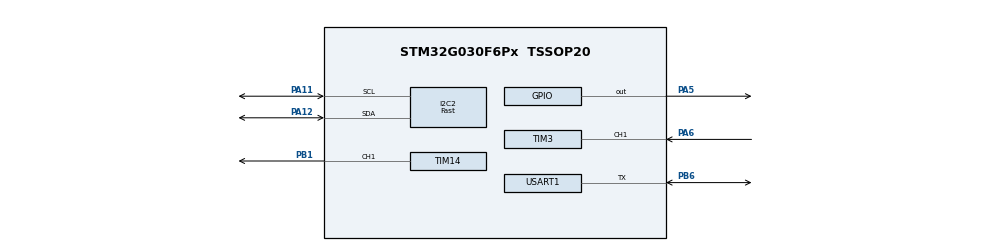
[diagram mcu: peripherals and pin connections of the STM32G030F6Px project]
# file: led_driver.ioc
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Dma.I2C2_TX.0.Direction=DMA_MEMORY_TO_PERIPH
Dma.I2C2_TX.0.EventEnable=DISABLE
Dma.I2C2_TX.0.Instance=DMA1_Channel1
Dma.I2C2_TX.0.MemDataAlignment=DMA_MDATAALIGN_BYTE
Dma.I2C2_TX.0.MemInc=DMA_MINC_ENABLE
Dma.I2C2_TX.0.Mode=DMA_NORMAL
Dma.I2C2_TX.0.PeriphDataAlignment=DMA_PDATAALIGN_BYTE
Dma.I2C2_TX.0.PeriphInc=DMA_PINC_DISABLE
Dma.I2C2_TX.0.Polarity=HAL_DMAMUX_REQ_GEN_RISING
Dma.I2C2_TX.0.Priority=DMA_PRIORITY_MEDIUM
Dma.I2C2_TX.0.RequestNumber=1
Dma.I2C2_TX.0.SignalID=NONE
Dma.I2C2_TX.0.SyncEnable=DISABLE
Dma.I2C2_TX.0.SyncPolarity=HAL_DMAMUX_SYNC_NO_EVENT
Dma.I2C2_TX.0.SyncRequestNumber=1
Dma.I2C2_TX.0.SyncSignalID=NONE
Dma.MEMTOMEM.1.Direction=DMA_MEMORY_TO_MEMORY
Dma.MEMTOMEM.1.EventEnable=DISABLE
Dma.MEMTOMEM.1.Instance=DMA1_Channel2
Dma.MEMTOMEM.1.MemDataAlignment=DMA_MDATAALIGN_BYTE
Dma.MEMTOMEM.1.MemInc=DMA_MINC_ENABLE
Dma.MEMTOMEM.1.Mode=DMA_NORMAL
Dma.MEMTOMEM.1.PeriphDataAlignment=DMA_PDATAALIGN_BYTE
Dma.MEMTOMEM.1.PeriphInc=DMA_PINC_DISABLE
Dma.MEMTOMEM.1.Polarity=HAL_DMAMUX_REQ_GEN_RISING
Dma.MEMTOMEM.1.Priority=DMA_PRIORITY_LOW
Dma.MEMTOMEM.1.RequestNumber=1
Dma.MEMTOMEM.1.SignalID=NONE
Dma.MEMTOMEM.1.SyncEnable=DISABLE
Dma.MEMTOMEM.1.SyncPolarity=HAL_DMAMUX_SYNC_NO_EVENT
Dma.MEMTOMEM.1.SyncRequestNumber=1
Dma.MEMTOMEM.1.SyncSignalID=NONE
Dma.Request0=I2C2_TX
Dma.Request1=MEMTOMEM
I2C2.CustomTiming=Disabled
I2C2.I2C_Rise_Time=0
I2C2.I2C_Speed_Mode=I2C_Fast
I2C2.NoStretchMode=I2C_NOSTRETCH_DISABLE
I2C2.Speed=200
I2C2.Timing=0x00100B3D
Mcu.Family=STM32G0
Mcu.Name=STM32G030F6Px
Mcu.Package=TSSOP20
NVIC.DMA1_Channel1_IRQn=true\:0\:0\:false\:false\:true\:false\:true\:true
NVIC.I2C2_IRQn=true\:0\:0\:false\:false\:true\:true\:true\:true
NVIC.TIM14_IRQn=true\:0\:0\:false\:false\:true\:true\:true\:true
NVIC.TIM3_IRQn=true\:0\:0\:false\:false\:true\:true\:true\:true
PA11\ [PA9].Mode=I2C
PA11\ [PA9].Signal=I2C2_SCL
PA12\ [PA10].Mode=I2C
PA12\ [PA10].Signal=I2C2_SDA
PA13.Mode=Serial_Wire
PA13.Signal=SYS_SWDIO
PA14-BOOT0.Mode=Serial_Wire
PA14-BOOT0.Signal=SYS_SWCLK
PA14-BOOT0__PA15.StandardMode=true
PA5.Signal=GPIO_Output
PA6.Signal=S_TIM3_CH1
PB0__PB1__PB2__PA8.StandardMode=true
PB1.Signal=S_TIM14_CH1
PB3__PB4__PB5__PB6.StandardMode=true
PB6.GPIO_PuPdOD=GPIO_PULLUP
PB6.Mode=Half_duplex(single_wire_mode)
PB6.Signal=USART1_TX
PB7__PB8.StandardMode=true
PC14-OSC32_IN\ (PC14)__PB9.StandardMode=true
ProjectManager.HeapSize=0x200
ProjectManager.StackSize=0x400
ProjectManager.TargetToolchain=STM32CubeIDE
RCC.ADCFreq_Value=16000000
RCC.AHBFreq_Value=16000000
RCC.CortexFreq_Value=16000000
RCC.EXTERNAL_CLOCK_VALUE=12288000
RCC.HCLKFreq_Value=16000000
RCC.HSE_VALUE=8000000
RCC.HSI_VALUE=16000000
RCC.LSE_VALUE=32768
RCC.SYSCLKFreq_VALUE=16000000
RCC.VCOOutputFreq_Value=128000000
SH.S_TIM14_CH1.0=TIM14_CH1,PWM Generation1 CH1
SH.S_TIM3_CH1.0=TIM3_CH1,PWM_Input_1
STMicroelectronics.X-CUBE-DISPLAY.2.2.0_IsPackSelfContextualization=true
TIM14.AutoReloadPreload=TIM_AUTORELOAD_PRELOAD_ENABLE
TIM14.Channel=TIM_CHANNEL_1
TIM14.ClockDivision=TIM_CLOCKDIVISION_DIV1
TIM14.Period=1600
TIM14.Prescaler=0
TIM14.Pulse=800
TIM3.AutoReloadPreload=TIM_AUTORELOAD_PRELOAD_DISABLE
TIM3.ICFilter_1=0
TIM3.ICFilter_2=0
TIM3.ICPolarity_1=TIM_INPUTCHANNELPOLARITY_FALLING
TIM3.Prescaler=1000
USART1.VirtualMode-Half_duplex(single_wire_mode)=VM_ASYNC
VP_RTC_VS_RTC_Activate.Mode=RTC_Enabled
VP_TIM14_VS_ClockSourceINT.Mode=Enable_Timer
VP_TIM3_VS_ClockSourceINT.Mode=Internal
board=custom

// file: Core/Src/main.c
/* USER CODE BEGIN Header */
/**
  ******************************************************************************
  * @file           : main.c
  * @brief          : Main program body
  ******************************************************************************
  * @attention
  *
  * Copyright (c) 2023 STMicroelectronics.
  * All rights reserved.
  *
  * This software is licensed under terms that can be found in the LICENSE file
  * in the root directory of this software component.
  * If no LICENSE file comes with this software, it is provided AS-IS.
  *
  ******************************************************************************
  */
/* USER CODE END Header */
#include "main.h"
#include "font.h"
/* USER CODE BEGIN Includes */
#include "ssd1306.h"
/* USER CODE END Includes */

/* USER CODE BEGIN PV */

volatile static uint8_t ssd1306_fill_pattern = 0x0;
//volatile static uint8_t ssd1306_buffer[1025];
volatile uint8_t ssd1306_display_bank;

volatile uint16_t tbuffer[200];
volatile uint16_t counter;
/* USER CODE END PV */

void SystemClock_Config(void);
static void MX_GPIO_Init(void);
static void MX_DMA_Init(void);
static void MX_TIM14_Init(void);
static void MX_TIM3_Init(void);
static void MX_RTC_Init(void);
static void MX_USART1_UART_Init(void);
static void MX_I2C2_Init(void);
/* USER CODE BEGIN PFP */
void configure_I2C_channel_DMA_memory(uint32_t buffer,uint16_t size);
void configure_M2M_channel_DMA_memory(uint32_t pattern, uint32_t buffer,uint16_t size);

char ssd1306_WriteString(char* str);
char ssd1306_WriteChar(char ch);
/* USER CODE END PFP */

int main(void)
{
  /* USER CODE BEGIN 1 */
	ssd1306_display_bank = 0;
	ssd1306_buffer[0]= 0x40; //control byte data

	__asm("nop");

/*
	for (uint8_t i = 0; i < charwidth; i++){
		test = microsoftSansSerif_12ptBitmaps[arrayptr + i];
	}

*/

  /* USER CODE END 1 */

  /* MCU Configuration--------------------------------------------------------*/

  /* Reset of all peripherals, Initializes the Flash interface and the Systick. */
  LL_APB2_GRP1_EnableClock(LL_APB2_GRP1_PERIPH_SYSCFG);
  LL_APB1_GRP1_EnableClock(LL_APB1_GRP1_PERIPH_PWR);

  /* SysTick_IRQn interrupt configuration */
  NVIC_SetPriority(SysTick_IRQn, 3);

  /* USER CODE BEGIN Init */
  //LL_DBGMCU_APB2_GRP1_FreezePeriph(LL_DBGMCU_APB2_GRP1_TIM14_STOP);
  /* USER CODE END Init */

  /* Configure the system clock */
  SystemClock_Config();

  /* Initialize all configured peripherals */
  MX_GPIO_Init();
  MX_DMA_Init();
  MX_TIM14_Init();
  MX_TIM3_Init();
  MX_RTC_Init();
  MX_USART1_UART_Init();
  MX_I2C2_Init();
  /* USER CODE BEGIN 2 */
  configure_M2M_channel_DMA_memory((uint32_t)&ssd1306_fill_pattern, (uint32_t)&ssd1306_buffer[1],sizeof(ssd1306_buffer)-1);

  LL_DMA_EnableChannel(DMA1, LL_DMA_CHANNEL_2);

  ssd1306_WriteChar('E');

  LL_TIM_EnableIT_UPDATE(TIM14);
  LL_TIM_EnableCounter(TIM14);
  LL_TIM_CC_EnableChannel(TIM14, LL_TIM_CHANNEL_CH1);

  LL_TIM_CC_EnableChannel(TIM3, LL_TIM_CHANNEL_CH1);
  LL_TIM_CC_EnableChannel(TIM3, LL_TIM_CHANNEL_CH2);

  LL_TIM_EnableIT_UPDATE(TIM3);
  LL_TIM_EnableIT_CC1(TIM3);
  LL_TIM_EnableIT_CC2(TIM3);
  //LL_TIM_EnableDMAReq_TRIG(TIM3);

  LL_TIM_EnableCounter(TIM3);

  LL_I2C_Enable(I2C2);

  LL_I2C_EnableDMAReq_TX(I2C2);

  LL_I2C_SetSlaveAddr(I2C2, 0x78);

  /* USER CODE END 2 */

  /* Infinite loop */
  /* USER CODE BEGIN WHILE */

  //LL_PWR_EnterLowPowerRunMode();

  /* Set DMA transfer addresses of source and destination */

    /* Enable DMA transfer complete/error interrupts */
    //LL_DMA_EnableIT_TC(DMA1, LL_DMA_CHANNEL_2);
    //LL_DMA_EnableIT_TE(DMA1, LL_DMA_CHANNEL_2);

    /* Start the DMA transfer Flash to Memory */

    LL_DMA_SetPeriphRequest(DMA1, LL_DMA_CHANNEL_1, LL_DMAMUX_REQ_I2C2_TX);

    configure_I2C_channel_DMA_memory((uint32_t)ssd1306_init,sizeof(ssd1306_init));

       LL_DMA_EnableChannel(DMA1, LL_DMA_CHANNEL_1);

       LL_I2C_EnableAutoEndMode(I2C2);
       LL_I2C_DisableReloadMode(I2C2);

       LL_I2C_SetTransferSize(I2C2, 29);

       // send init sequence to display
       LL_I2C_GenerateStartCondition(I2C2);
       while (!LL_I2C_IsActiveFlag_STOP(I2C2)){};
       LL_I2C_ClearFlag_STOP(I2C2);

       // send sero address to display
       LL_I2C_SetTransferSize(I2C2, 4); //2
       LL_I2C_GenerateStartCondition(I2C2);
       while (!LL_I2C_IsActiveFlag_STOP(I2C2)){};
       LL_I2C_ClearFlag_STOP(I2C2);

       LL_DMA_ClearFlag_GI1(DMA1);
       LL_DMA_ClearFlag_TC1(DMA1);
       LL_DMA_ClearFlag_HT1(DMA1);
       //buffer display (actually trash for now) //every unpair bit is not displayed thanks to china

       configure_I2C_channel_DMA_memory((uint32_t)&ssd1306_buffer,sizeof(ssd1306_buffer));

       LL_I2C_DisableAutoEndMode(I2C2);
       LL_I2C_EnableReloadMode(I2C2);

       LL_I2C_EnableIT_TC(I2C2);
       LL_I2C_SetTransferSize(I2C2, 129); //2
       LL_I2C_GenerateStartCondition(I2C2);
       while(!LL_I2C_IsActiveFlag_TCR(I2C2)){};

  while (1)
  {
	__asm("nop");
	__asm("nop");
	__asm("nop");
	__asm("nop");
	__asm("nop");

	__asm("nop");

    /* USER CODE END WHILE */

  }
}

void SystemClock_Config(void)
{
  /* HSI configuration and activation */
  LL_RCC_HSI_Enable();
  while(LL_RCC_HSI_IsReady() != 1)
  {
  }

  /* LSI configuration and activation */
  LL_RCC_LSI_Enable();
  while(LL_RCC_LSI_IsReady() != 1)
  {
  }

  LL_PWR_EnableBkUpAccess();
  /* Set AHB prescaler*/
  LL_RCC_SetAHBPrescaler(LL_RCC_SYSCLK_DIV_1);

  /* Sysclk activation on the HSI */
  LL_RCC_SetSysClkSource(LL_RCC_SYS_CLKSOURCE_HSI);
  while(LL_RCC_GetSysClkSource() != LL_RCC_SYS_CLKSOURCE_STATUS_HSI)
  {
  }

  /* Set APB1 prescaler*/
  LL_RCC_SetAPB1Prescaler(LL_RCC_APB1_DIV_1);

  LL_Init1msTick(16000000);

  /* Update CMSIS variable (which can be updated also through SystemCoreClockUpdate function) */
  LL_SetSystemCoreClock(16000000);
}

static void MX_I2C2_Init(void)
{

  LL_I2C_InitTypeDef I2C_InitStruct = {0};

  LL_GPIO_InitTypeDef GPIO_InitStruct = {0};

  LL_IOP_GRP1_EnableClock(LL_IOP_GRP1_PERIPH_GPIOA);
  /**I2C2 GPIO Configuration
  PA11 [PA9]   ------> I2C2_SCL
  PA12 [PA10]   ------> I2C2_SDA
  */
  GPIO_InitStruct.Pin = LL_GPIO_PIN_11;
  GPIO_InitStruct.Mode = LL_GPIO_MODE_ALTERNATE;
  GPIO_InitStruct.Speed = LL_GPIO_SPEED_FREQ_LOW;
  GPIO_InitStruct.OutputType = LL_GPIO_OUTPUT_OPENDRAIN;
  GPIO_InitStruct.Pull = LL_GPIO_PULL_NO;
  GPIO_InitStruct.Alternate = LL_GPIO_AF_6;
  LL_GPIO_Init(GPIOA, &GPIO_InitStruct);

  GPIO_InitStruct.Pin = LL_GPIO_PIN_12;
  GPIO_InitStruct.Mode = LL_GPIO_MODE_ALTERNATE;
  GPIO_InitStruct.Speed = LL_GPIO_SPEED_FREQ_LOW;
  GPIO_InitStruct.OutputType = LL_GPIO_OUTPUT_OPENDRAIN;
  GPIO_InitStruct.Pull = LL_GPIO_PULL_NO;
  GPIO_InitStruct.Alternate = LL_GPIO_AF_6;
  LL_GPIO_Init(GPIOA, &GPIO_InitStruct);

  /* Peripheral clock enable */
  LL_APB1_GRP1_EnableClock(LL_APB1_GRP1_PERIPH_I2C2);

  /* I2C2 DMA Init */

  /* I2C2_TX Init */
  LL_DMA_SetPeriphRequest(DMA1, LL_DMA_CHANNEL_1, LL_DMAMUX_REQ_I2C2_TX);

  LL_DMA_SetDataTransferDirection(DMA1, LL_DMA_CHANNEL_1, LL_DMA_DIRECTION_MEMORY_TO_PERIPH);

  LL_DMA_SetChannelPriorityLevel(DMA1, LL_DMA_CHANNEL_1, LL_DMA_PRIORITY_MEDIUM);

  LL_DMA_SetMode(DMA1, LL_DMA_CHANNEL_1, LL_DMA_MODE_NORMAL);

  LL_DMA_SetPeriphIncMode(DMA1, LL_DMA_CHANNEL_1, LL_DMA_PERIPH_NOINCREMENT);

  LL_DMA_SetMemoryIncMode(DMA1, LL_DMA_CHANNEL_1, LL_DMA_MEMORY_INCREMENT);

  LL_DMA_SetPeriphSize(DMA1, LL_DMA_CHANNEL_1, LL_DMA_PDATAALIGN_BYTE);

  LL_DMA_SetMemorySize(DMA1, LL_DMA_CHANNEL_1, LL_DMA_MDATAALIGN_BYTE);

  /* I2C2 interrupt Init */
  NVIC_SetPriority(I2C2_IRQn, 0);
  NVIC_EnableIRQ(I2C2_IRQn);

  /** I2C Initialization
  */
  I2C_InitStruct.PeripheralMode = LL_I2C_MODE_I2C;
  I2C_InitStruct.Timing = 0x00100B3D;
  I2C_InitStruct.AnalogFilter = LL_I2C_ANALOGFILTER_ENABLE;
  I2C_InitStruct.DigitalFilter = 0;
  I2C_InitStruct.OwnAddress1 = 0;
  I2C_InitStruct.TypeAcknowledge = LL_I2C_ACK;
  I2C_InitStruct.OwnAddrSize = LL_I2C_OWNADDRESS1_7BIT;
  LL_I2C_Init(I2C2, &I2C_InitStruct);
  LL_I2C_EnableAutoEndMode(I2C2);
  LL_I2C_SetOwnAddress2(I2C2, 0, LL_I2C_OWNADDRESS2_NOMASK);
  LL_I2C_DisableOwnAddress2(I2C2);
  LL_I2C_DisableGeneralCall(I2C2);
  LL_I2C_EnableClockStretching(I2C2);

}

static void MX_RTC_Init(void)
{

  LL_RTC_InitTypeDef RTC_InitStruct = {0};

  if(LL_RCC_GetRTCClockSource() != LL_RCC_RTC_CLKSOURCE_LSI)
  {
    LL_RCC_ForceBackupDomainReset();
    LL_RCC_ReleaseBackupDomainReset();
    LL_RCC_SetRTCClockSource(LL_RCC_RTC_CLKSOURCE_LSI);
  }

  /* Peripheral clock enable */
  LL_RCC_EnableRTC();
  LL_APB1_GRP1_EnableClock(LL_APB1_GRP1_PERIPH_RTC);

  RTC_InitStruct.HourFormat = LL_RTC_HOURFORMAT_24HOUR;
  RTC_InitStruct.AsynchPrescaler = 127;
  RTC_InitStruct.SynchPrescaler = 255;
  LL_RTC_Init(RTC, &RTC_InitStruct);

}

static void MX_TIM3_Init(void)
{

  LL_TIM_InitTypeDef TIM_InitStruct = {0};

  LL_GPIO_InitTypeDef GPIO_InitStruct = {0};

  /* Peripheral clock enable */
  LL_APB1_GRP1_EnableClock(LL_APB1_GRP1_PERIPH_TIM3);

  LL_IOP_GRP1_EnableClock(LL_IOP_GRP1_PERIPH_GPIOA);
  /**TIM3 GPIO Configuration
  PA6   ------> TIM3_CH1
  */
  GPIO_InitStruct.Pin = LL_GPIO_PIN_6;
  GPIO_InitStruct.Mode = LL_GPIO_MODE_ALTERNATE;
  GPIO_InitStruct.Speed = LL_GPIO_SPEED_FREQ_LOW;
  GPIO_InitStruct.OutputType = LL_GPIO_OUTPUT_PUSHPULL;
  GPIO_InitStruct.Pull = LL_GPIO_PULL_NO;
  GPIO_InitStruct.Alternate = LL_GPIO_AF_1;
  LL_GPIO_Init(GPIOA, &GPIO_InitStruct);

  /* TIM3 interrupt Init */
  NVIC_SetPriority(TIM3_IRQn, 0);
  NVIC_EnableIRQ(TIM3_IRQn);

  TIM_InitStruct.Prescaler = 1000;
  TIM_InitStruct.CounterMode = LL_TIM_COUNTERMODE_UP;
  TIM_InitStruct.Autoreload = 65535;
  TIM_InitStruct.ClockDivision = LL_TIM_CLOCKDIVISION_DIV1;
  LL_TIM_Init(TIM3, &TIM_InitStruct);
  LL_TIM_DisableARRPreload(TIM3);
  LL_TIM_SetClockSource(TIM3, LL_TIM_CLOCKSOURCE_INTERNAL);
  LL_TIM_SetTriggerInput(TIM3, LL_TIM_TS_TI1FP1);
  LL_TIM_SetSlaveMode(TIM3, LL_TIM_SLAVEMODE_RESET);
  LL_TIM_CC_DisableChannel(TIM3, LL_TIM_CHANNEL_CH1);
  LL_TIM_IC_SetFilter(TIM3, LL_TIM_CHANNEL_CH1, LL_TIM_IC_FILTER_FDIV1);
  LL_TIM_IC_SetPolarity(TIM3, LL_TIM_CHANNEL_CH1, LL_TIM_IC_POLARITY_FALLING);
  LL_TIM_DisableIT_TRIG(TIM3);
  LL_TIM_DisableDMAReq_TRIG(TIM3);
  LL_TIM_IC_SetActiveInput(TIM3, LL_TIM_CHANNEL_CH1, LL_TIM_ACTIVEINPUT_DIRECTTI);
  LL_TIM_IC_SetPrescaler(TIM3, LL_TIM_CHANNEL_CH1, LL_TIM_ICPSC_DIV1);
  LL_TIM_IC_SetActiveInput(TIM3, LL_TIM_CHANNEL_CH2, LL_TIM_ACTIVEINPUT_INDIRECTTI);
  LL_TIM_IC_SetPrescaler(TIM3, LL_TIM_CHANNEL_CH2, LL_TIM_ICPSC_DIV1);
  LL_TIM_IC_SetFilter(TIM3, LL_TIM_CHANNEL_CH2, LL_TIM_IC_FILTER_FDIV1);
  LL_TIM_IC_SetPolarity(TIM3, LL_TIM_CHANNEL_CH2, LL_TIM_IC_POLARITY_RISING);
  LL_TIM_SetTriggerOutput(TIM3, LL_TIM_TRGO_RESET);
  LL_TIM_DisableMasterSlaveMode(TIM3);

}

static void MX_TIM14_Init(void)
{

  LL_TIM_InitTypeDef TIM_InitStruct = {0};
  LL_TIM_OC_InitTypeDef TIM_OC_InitStruct = {0};

  LL_GPIO_InitTypeDef GPIO_InitStruct = {0};

  /* Peripheral clock enable */
  LL_APB2_GRP1_EnableClock(LL_APB2_GRP1_PERIPH_TIM14);

  /* TIM14 interrupt Init */
  NVIC_SetPriority(TIM14_IRQn, 0);
  NVIC_EnableIRQ(TIM14_IRQn);

  TIM_InitStruct.Prescaler = 0;
  TIM_InitStruct.CounterMode = LL_TIM_COUNTERMODE_UP;
  TIM_InitStruct.Autoreload = 1600;
  TIM_InitStruct.ClockDivision = LL_TIM_CLOCKDIVISION_DIV1;
  LL_TIM_Init(TIM14, &TIM_InitStruct);
  LL_TIM_EnableARRPreload(TIM14);
  LL_TIM_OC_EnablePreload(TIM14, LL_TIM_CHANNEL_CH1);
  TIM_OC_InitStruct.OCMode = LL_TIM_OCMODE_PWM1;
  TIM_OC_InitStruct.OCState = LL_TIM_OCSTATE_DISABLE;
  TIM_OC_InitStruct.OCNState = LL_TIM_OCSTATE_DISABLE;
  TIM_OC_InitStruct.CompareValue = 800;
  TIM_OC_InitStruct.OCPolarity = LL_TIM_OCPOLARITY_HIGH;
  LL_TIM_OC_Init(TIM14, LL_TIM_CHANNEL_CH1, &TIM_OC_InitStruct);
  LL_TIM_OC_DisableFast(TIM14, LL_TIM_CHANNEL_CH1);
  LL_IOP_GRP1_EnableClock(LL_IOP_GRP1_PERIPH_GPIOB);
  /**TIM14 GPIO Configuration
  PB1   ------> TIM14_CH1
  */
  GPIO_InitStruct.Pin = LL_GPIO_PIN_1;
  GPIO_InitStruct.Mode = LL_GPIO_MODE_ALTERNATE;
  GPIO_InitStruct.Speed = LL_GPIO_SPEED_FREQ_LOW;
  GPIO_InitStruct.OutputType = LL_GPIO_OUTPUT_PUSHPULL;
  GPIO_InitStruct.Pull = LL_GPIO_PULL_NO;
  GPIO_InitStruct.Alternate = LL_GPIO_AF_0;
  LL_GPIO_Init(GPIOB, &GPIO_InitStruct);

}

static void MX_USART1_UART_Init(void)
{

  LL_USART_InitTypeDef USART_InitStruct = {0};

  LL_GPIO_InitTypeDef GPIO_InitStruct = {0};

  LL_RCC_SetUSARTClockSource(LL_RCC_USART1_CLKSOURCE_PCLK1);

  /* Peripheral clock enable */
  LL_APB2_GRP1_EnableClock(LL_APB2_GRP1_PERIPH_USART1);

  LL_IOP_GRP1_EnableClock(LL_IOP_GRP1_PERIPH_GPIOB);
  /**USART1 GPIO Configuration
  PB6   ------> USART1_TX
  */
  GPIO_InitStruct.Pin = LL_GPIO_PIN_6;
  GPIO_InitStruct.Mode = LL_GPIO_MODE_ALTERNATE;
  GPIO_InitStruct.Speed = LL_GPIO_SPEED_FREQ_LOW;
  GPIO_InitStruct.OutputType = LL_GPIO_OUTPUT_OPENDRAIN;
  GPIO_InitStruct.Pull = LL_GPIO_PULL_UP;
  GPIO_InitStruct.Alternate = LL_GPIO_AF_0;
  LL_GPIO_Init(GPIOB, &GPIO_InitStruct);

  USART_InitStruct.PrescalerValue = LL_USART_PRESCALER_DIV1;
  USART_InitStruct.BaudRate = 115200;
  USART_InitStruct.DataWidth = LL_USART_DATAWIDTH_8B;
  USART_InitStruct.StopBits = LL_USART_STOPBITS_1;
  USART_InitStruct.Parity = LL_USART_PARITY_NONE;
  USART_InitStruct.TransferDirection = LL_USART_DIRECTION_TX_RX;
  USART_InitStruct.OverSampling = LL_USART_OVERSAMPLING_16;
  LL_USART_Init(USART1, &USART_InitStruct);
  LL_USART_SetTXFIFOThreshold(USART1, LL_USART_FIFOTHRESHOLD_1_8);
  LL_USART_SetRXFIFOThreshold(USART1, LL_USART_FIFOTHRESHOLD_1_8);
  LL_USART_DisableFIFO(USART1);
  LL_USART_ConfigHalfDuplexMode(USART1);

  LL_USART_Enable(USART1);

  /* Polling USART1 initialisation */
  while((!(LL_USART_IsActiveFlag_TEACK(USART1))) || (!(LL_USART_IsActiveFlag_REACK(USART1))))
  {
  }

}

static void MX_DMA_Init(void)
{

  /* Init with LL driver */
  /* DMA controller clock enable */
  LL_AHB1_GRP1_EnableClock(LL_AHB1_GRP1_PERIPH_DMA1);

  /* Configure DMA request MEMTOMEM_DMA1_Channel2 */

  /* Set request number */
  LL_DMA_SetPeriphRequest(DMA1, LL_DMA_CHANNEL_2, LL_DMAMUX_REQ_MEM2MEM);

  /* Set transfer direction */
  LL_DMA_SetDataTransferDirection(DMA1, LL_DMA_CHANNEL_2, LL_DMA_DIRECTION_MEMORY_TO_MEMORY);

  /* Set priority level */
  LL_DMA_SetChannelPriorityLevel(DMA1, LL_DMA_CHANNEL_2, LL_DMA_PRIORITY_LOW);

  /* Set DMA mode */
  LL_DMA_SetMode(DMA1, LL_DMA_CHANNEL_2, LL_DMA_MODE_NORMAL);

  /* Set peripheral increment mode */
  LL_DMA_SetPeriphIncMode(DMA1, LL_DMA_CHANNEL_2, LL_DMA_PERIPH_NOINCREMENT);

  /* Set memory increment mode */
  LL_DMA_SetMemoryIncMode(DMA1, LL_DMA_CHANNEL_2, LL_DMA_MEMORY_INCREMENT);

  /* Set peripheral data width */
  LL_DMA_SetPeriphSize(DMA1, LL_DMA_CHANNEL_2, LL_DMA_PDATAALIGN_BYTE);

  /* Set memory data width */
  LL_DMA_SetMemorySize(DMA1, LL_DMA_CHANNEL_2, LL_DMA_MDATAALIGN_BYTE);

  /* DMA interrupt init */
  /* DMA1_Channel1_IRQn interrupt configuration */
  NVIC_SetPriority(DMA1_Channel1_IRQn, 0);
  NVIC_EnableIRQ(DMA1_Channel1_IRQn);

}

static void MX_GPIO_Init(void)
{
  LL_GPIO_InitTypeDef GPIO_InitStruct = {0};

  /* GPIO Ports Clock Enable */
  LL_IOP_GRP1_EnableClock(LL_IOP_GRP1_PERIPH_GPIOA);
  LL_IOP_GRP1_EnableClock(LL_IOP_GRP1_PERIPH_GPIOB);

  /**/
  LL_GPIO_ResetOutputPin(GPIOA, LL_GPIO_PIN_5);

  /**/
  GPIO_InitStruct.Pin = LL_GPIO_PIN_5;
  GPIO_InitStruct.Mode = LL_GPIO_MODE_OUTPUT;
  GPIO_InitStruct.Speed = LL_GPIO_SPEED_FREQ_LOW;
  GPIO_InitStruct.OutputType = LL_GPIO_OUTPUT_PUSHPULL;
  GPIO_InitStruct.Pull = LL_GPIO_PULL_NO;
  LL_GPIO_Init(GPIOA, &GPIO_InitStruct);

}

/* USER CODE BEGIN 4 */

void configure_I2C_channel_DMA_memory(uint32_t buffer,uint16_t size){
    LL_DMA_DisableChannel(DMA1, LL_DMA_CHANNEL_1);

    LL_DMA_ConfigAddresses(DMA1,
                              LL_DMA_CHANNEL_1,
                              buffer,
                              LL_I2C_DMA_GetRegAddr(I2C2, LL_I2C_DMA_REG_DATA_TRANSMIT),
                              LL_DMA_DIRECTION_MEMORY_TO_PERIPH);

       /* Set DMA transfer size */
       LL_DMA_SetDataLength(DMA1,
                            LL_DMA_CHANNEL_1,
                            size);//size);

       LL_DMA_EnableChannel(DMA1, LL_DMA_CHANNEL_1);
};

void configure_M2M_channel_DMA_memory(uint32_t pattern, uint32_t buffer,uint16_t size){

	/* Set DMA transfer addresses of source and destination */
	  LL_DMA_ConfigAddresses(DMA1,
	                         LL_DMA_CHANNEL_2,
	                         pattern,
							 buffer,
	                         LL_DMA_DIRECTION_MEMORY_TO_MEMORY);

	  /* Set DMA transfer size */
	  LL_DMA_SetDataLength(DMA1, LL_DMA_CHANNEL_2,size);

};

/* USER CODE END 4 */

void Error_Handler(void)
{
  __disable_irq();
  while (1)
  {
  }
}

char ssd1306_WriteString(char* str)
{

	// Write until null-byte
    while (*str)
    {
        if (ssd1306_WriteChar(*str) != *str)
        {
            // Char could not be written
            return *str;
        }

        // Next char
        str++;
    }

    // Everything ok
    return *str;
}

char ssd1306_WriteChar(char ch)
{

	//uint8_t ch = 'A';

	uint8_t currentcharptr = ch - lucidaConsole_18ptFontInfo.FirstChar;  //17

	uint16_t charwidth = lucidaConsole_18ptFontInfo.FontTable[currentcharptr].width; //11
	uint8_t charheight = lucidaConsole_18ptFontInfo.Height; //2
	uint8_t arrayptr = lucidaConsole_18ptDescriptors[currentcharptr].start; //132

	//uint8_t test = microsoftSansSerif_12ptBitmaps[arrayptr]; //0

  	for (uint8_t b=0;b < charheight; b++){
	for (uint8_t i = 0; i < charwidth; i++){
		ssd1306_buffer[i+1+(b*128)] = lucidaConsole_18ptBitmaps[arrayptr + i + (b*charwidth )];
	}}

    return ch;

};
